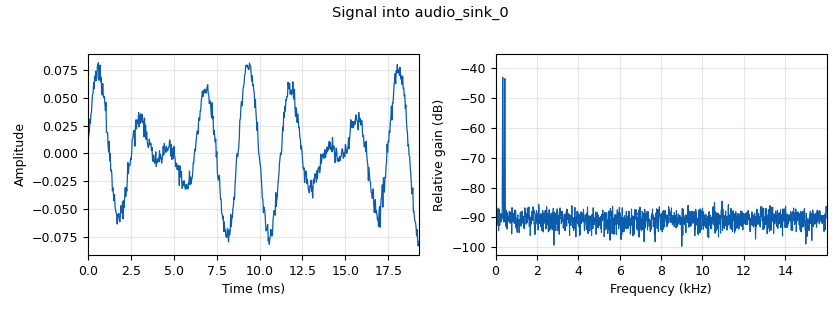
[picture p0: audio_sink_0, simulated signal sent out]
options:
  parameters:
    author: Example
    description: Example of flow graph
    generate_options: qt_gui
    id: default
    output_language: python
    title: Dial Tone
  states: {}

blocks:
- name: ampl
  id: variable_qtgui_range
  parameters:
    label: volume
    start: '0'
    step: '1'
    stop: '100'
    value: '40e-3'
  states: {}
- name: freq
  id: variable_qtgui_range
  parameters:
    label: Freq
    start: '350'
    step: '10'
    stop: '650'
    value: '450'
  states: {}
- name: freq2
  id: variable_qtgui_range
  parameters:
    label: Freq2
    start: '250'
    step: '10'
    stop: '450'
    value: '350'
  states: {}
- name: noise
  id: variable_qtgui_range
  parameters:
    label: Noise Amplitude
    start: '0'
    step: '1'
    stop: '100'
    value: '5e-3'
  states: {}
- name: samp_rate
  id: variable
  parameters:
    value: '32000'
  states: {}
- name: analog_noise_source_x_0
  id: analog_noise_source_x
  parameters:
    amp: noise
    noise_type: analog.GR_GAUSSIAN
    seed: '-42'
    type: float
  states: {}
- name: analog_sig_source_x_0
  id: analog_sig_source_x
  parameters:
    amp: '40e-3'
    freq: freq
    offset: '0'
    phase: '0'
    samp_rate: samp_rate
    type: float
    waveform: analog.GR_COS_WAVE
  states: {}
- name: analog_sig_source_x_1
  id: analog_sig_source_x
  parameters:
    amp: '40e-3'
    freq: freq2
    offset: '0'
    phase: '0'
    samp_rate: samp_rate
    type: float
    waveform: analog.GR_COS_WAVE
  states: {}
- name: audio_sink_0
  id: audio_sink
  parameters:
    samp_rate: samp_rate
  states: {}
- name: blocks_add_xx_0
  id: blocks_add_xx
  parameters:
    num_inputs: '3'
    type: float
  states: {}

connections:
- [analog_noise_source_x_0, '0', blocks_add_xx_0, '2']
- [analog_sig_source_x_0, '0', blocks_add_xx_0, '0']
- [analog_sig_source_x_1, '0', blocks_add_xx_0, '1']
- [blocks_add_xx_0, '0', audio_sink_0, '0']

metadata:
  file_format: 1
  grc_version: 3.10.12.0
